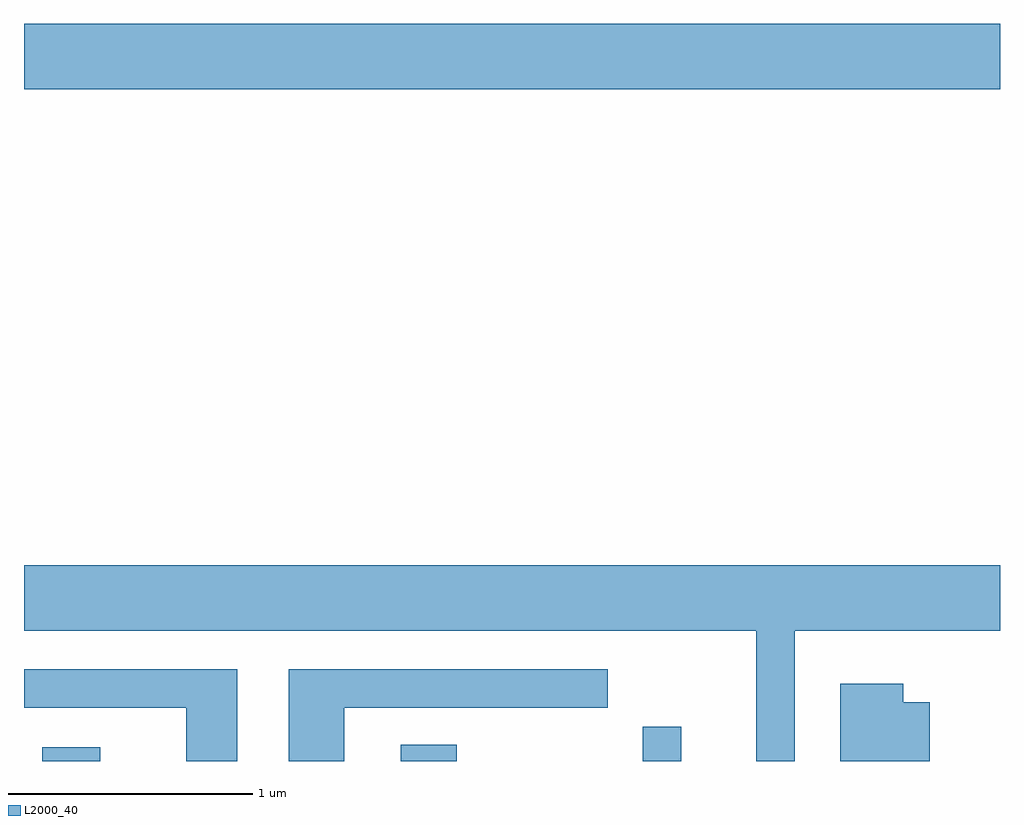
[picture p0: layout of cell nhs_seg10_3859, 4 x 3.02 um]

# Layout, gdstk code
import gdstk
lib = gdstk.Library(unit=1e-6, precision=1e-09)
def R(c, l, rs):  # rectangles x0, y0, x1, y1
    for r in rs: c.add(gdstk.rectangle(r[:2], r[2:], *l))
def P(c, l, *ps):  # polygons
    for p in ps: c.add(gdstk.Polygon(p, *l))
L2000_40 = (2000, 40)

nhs_seg10_3859 = lib.new_cell('nhs_seg10_3859')
R(nhs_seg10_3859, L2000_40, [(299.686,2084.522,299.923,2084.579), (301.156,2084.522,301.384,2084.589), (302.146,2084.522,302.304,2084.663), (299.611,2087.276,303.611,2087.544)])
P(nhs_seg10_3859, L2000_40, [(302.769,2085.056),(303.611,2085.056),(303.611,2085.324),(299.611,2085.324),(299.611,2085.056),(302.611,2085.056),(302.611,2084.522),(302.769,2084.522)],
  [(300.484,2084.899),(299.611,2084.899),(299.611,2084.741),(300.276,2084.741),(300.276,2084.522),(300.484,2084.522)],
  [(300.924,2084.741),(302.003,2084.741),(302.003,2084.899),(300.696,2084.899),(300.696,2084.522),(300.924,2084.522)],
  [(303.324,2084.764),(303.214,2084.764),(303.214,2084.839),(302.956,2084.839),(302.956,2084.522),(303.324,2084.522)])

lib.write_gds('nhs_seg10_3859.gds')
